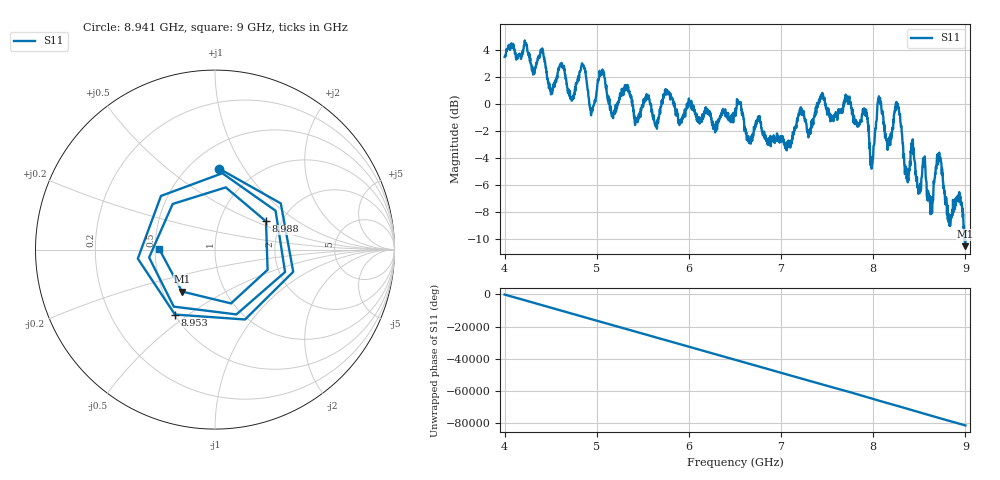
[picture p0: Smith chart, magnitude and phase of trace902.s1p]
! Created with skrf 1.8.0 (http://scikit-rf.org).
# Hz S RI R 50.0
!freq ReS11 ImS11
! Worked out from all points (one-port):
!   1601 points, 4 GHz to 9 GHz, reference 50 ohm
!   lowest |S11| = -10.5 dB at 8.997 GHz (marker M1), VSWR 1.85, Z = 31.3 - j16 ohm
!   |S11| at or under -10 dB: 8.990343 GHz to end of sweep
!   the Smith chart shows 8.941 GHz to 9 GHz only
!   S11 on the Smith chart (normalised r, x): 8.941 GHz: 0.69, +0.78; 8.953 GHz: 0.50, -0.44; 8.988 GHz: 1.67, +0.59; 9 GHz: 0.53, +0.01
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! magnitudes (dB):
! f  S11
! 4 GHz  3.5
! 4.506 GHz  0.8
! 4.625 GHz  2.9
! 4.725 GHz  0.3
! 4.847 GHz  2.8
! 4.944 GHz  -0.6
! 5.053 GHz  2.3
! 5.166 GHz  -0.9
! 5.25 GHz  0.5
! 5.875 GHz  -0.9
! 6.5 GHz  -0.5
! 7.125 GHz  -2.6
! 7.75 GHz  0.1
! 7.919 GHz  -0.8
! 7.984 GHz  -4.8
! 8.062 GHz  0.6
! 8.159 GHz  -2.6
! 8.266 GHz  0.0
! 8.375 GHz  -5.8
! 8.431 GHz  -2.9
! 8.625 GHz  -6.9
! 8.712 GHz  -4.0
! 8.825 GHz  -8.2
! 8.941 GHz  -6.9
! 8.953 GHz  -7.4
! 8.988 GHz  -9.8
! 8.997 GHz  -10.5
! 9 GHz  -10.1
